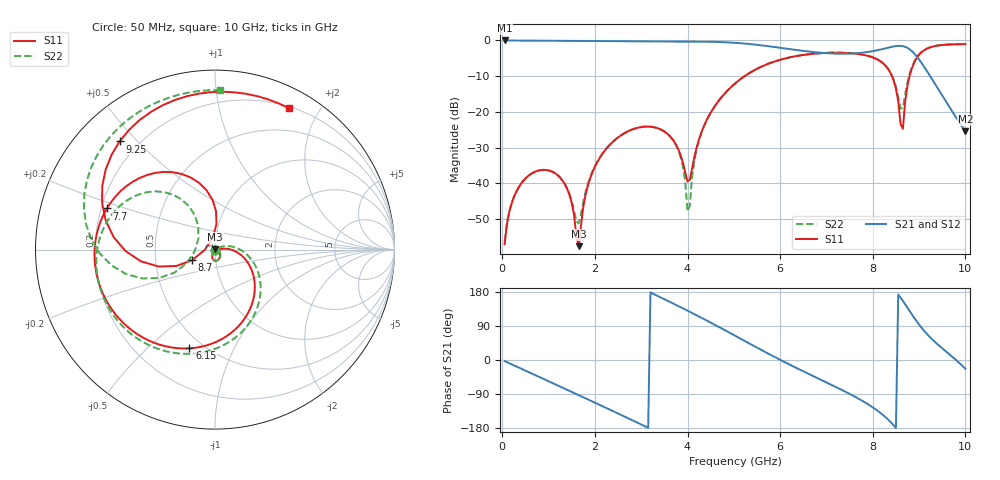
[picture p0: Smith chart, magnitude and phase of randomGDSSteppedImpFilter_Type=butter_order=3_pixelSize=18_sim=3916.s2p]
! freq	dB(S11)	phase(S11)	dB(S12)	phase(S12)
!  dB(S21)	phase(S21)	dB(S22)	phase(S22)
!S-par simulation data
#  GHz  S  DB  R 50
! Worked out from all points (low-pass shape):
!   200 points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, 50 MHz to 10 GHz, reference 50 ohm
!   highest |S21| = 0.00 dB at 50 MHz (marker M1); lowest = -25.4 dB at 10 GHz (marker M2)
!   |S21| within 3 dB of the highest: start of sweep to 6.546 GHz; 7.997 GHz to 8.845 GHz (848 MHz wide, 10.1 % of centre)
!   lowest |S11| = -57.6 dB at 1.65 GHz (marker M3), VSWR 1.00, Z = 50.1 + j0.121 ohm
!   |S11| at or under -10 dB: start of sweep to 5.232 GHz; 8.414 GHz to 8.794 GHz (380.2 MHz wide, 4.42 % of centre)
!   |S22| runs from -56.2 to -1.0 dB; largest |S21 - S12| = 0
!   S11 on the Smith chart (normalised r, x): 50 MHz: 1.00, -0.00; 6.15 GHz: 0.42, -0.68; 7.7 GHz: 0.22, +0.18; 8.7 GHz: 0.77, -0.09; 9.25 GHz: 0.13, +0.44; 10 GHz: 0.22, +1.63
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0.05  -57.02 -70.2  -0.00 -2.8  -0.00 -2.8  -56.25 -83.1
0.3  -42.37 -104.0  -0.03 -16.9  -0.03 -16.9  -42.39 -104.5
0.9  -36.20 -141.9  -0.06 -50.5  -0.06 -50.5  -36.20 -144.1
1.4  -41.51 -173.4  -0.09 -78.6  -0.09 -78.6  -41.33 177.5
1.65  -57.55 65.5  -0.11 -92.7  -0.11 -92.7  -51.17 77.7
1.75  -46.47 0.8  -0.11 -98.4  -0.11 -98.4  -45.14 21.8
1.95  -36.78 -17.0  -0.13 -109.7  -0.13 -109.7  -36.52 -8.2
2.35  -28.83 -41.4  -0.16 -132.6  -0.16 -132.6  -28.77 -37.2
3.4  -24.78 -99.7  -0.25 166.4  -0.25 166.4  -24.80 -99.8
3.85  -32.06 -111.9  -0.28 139.4  -0.28 139.4  -32.60 -123.6
4  -39.47 -70.4  -0.29 130.2  -0.29 130.2  -47.80 -100.5
4.3  -25.70 5.7  -0.32 111.4  -0.32 111.4  -25.90 21.4
5.05  -11.77 -33.9  -0.68 62.5  -0.68 62.5  -11.77 -25.0
6.15  -4.91 -104.5  -2.33 -8.8  -2.33 -8.8  -4.88 -94.9
6.7  -3.75 -138.0  -3.23 -41.6  -3.23 -41.6  -3.72 -127.0
7.7  -3.81 159.2  -3.52 -102.6  -3.52 -102.6  -3.79 175.0
8.35  -8.35 103.4  -1.97 -159.4  -1.97 -159.4  -8.27 127.5
8.65  -24.71 -177.3  -1.61 156.1  -1.61 156.1  -18.93 -175.5
8.7  -17.07 -155.2  -1.79 147.1  -1.79 147.1  -15.13 -154.3
8.9  -6.05 -179.0  -3.72 110.2  -3.72 110.2  -5.79 -164.6
9.25  -1.90 131.4  -10.21 58.4  -10.21 58.4  -1.82 151.7
10  -1.02 62.5  -25.44 -23.0  -25.44 -23.0  -1.02 88.0
